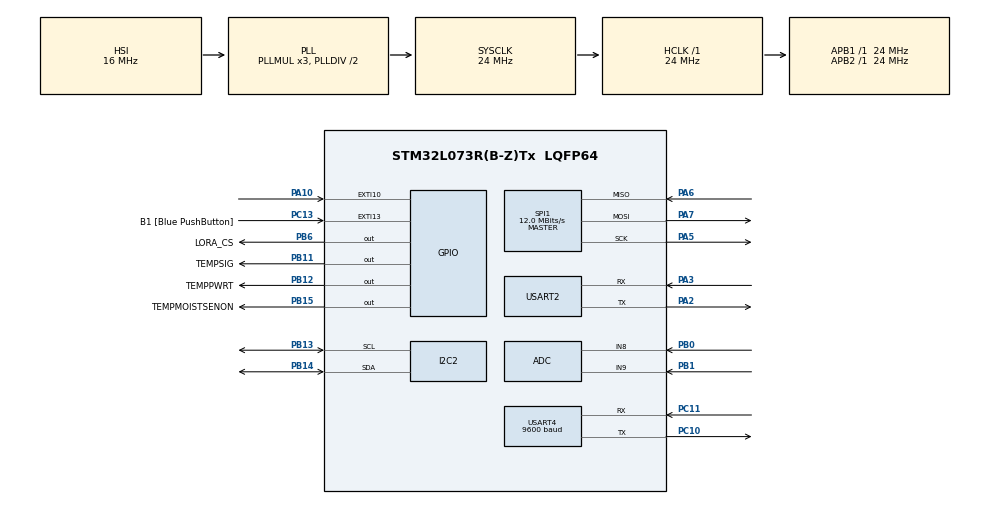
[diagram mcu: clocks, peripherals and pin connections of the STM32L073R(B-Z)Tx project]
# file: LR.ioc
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ADC.ContinuousConvMode=ENABLE
ADC.DMAContinuousRequests=ENABLE
ADC.ExternalTrigConv=ADC_EXTERNALTRIGCONV_T6_TRGO
ADC.SamplingTime=ADC_SAMPLETIME_12CYCLES_5
Dma.ADC.0.Direction=DMA_PERIPH_TO_MEMORY
Dma.ADC.0.Instance=DMA1_Channel1
Dma.ADC.0.MemDataAlignment=DMA_MDATAALIGN_HALFWORD
Dma.ADC.0.MemInc=DMA_MINC_ENABLE
Dma.ADC.0.Mode=DMA_CIRCULAR
Dma.ADC.0.PeriphDataAlignment=DMA_PDATAALIGN_HALFWORD
Dma.ADC.0.PeriphInc=DMA_PINC_DISABLE
Dma.ADC.0.Priority=DMA_PRIORITY_LOW
Dma.Request0=ADC
Dma.Request1=USART2_TX
Dma.Request2=USART4_RX
Dma.USART2_TX.1.Direction=DMA_MEMORY_TO_PERIPH
Dma.USART2_TX.1.Instance=DMA1_Channel4
Dma.USART2_TX.1.MemDataAlignment=DMA_MDATAALIGN_BYTE
Dma.USART2_TX.1.MemInc=DMA_MINC_ENABLE
Dma.USART2_TX.1.Mode=DMA_NORMAL
Dma.USART2_TX.1.PeriphDataAlignment=DMA_PDATAALIGN_BYTE
Dma.USART2_TX.1.PeriphInc=DMA_PINC_DISABLE
Dma.USART2_TX.1.Priority=DMA_PRIORITY_LOW
Dma.USART4_RX.2.Direction=DMA_PERIPH_TO_MEMORY
Dma.USART4_RX.2.Instance=DMA1_Channel2
Dma.USART4_RX.2.MemDataAlignment=DMA_MDATAALIGN_BYTE
Dma.USART4_RX.2.MemInc=DMA_MINC_ENABLE
Dma.USART4_RX.2.Mode=DMA_CIRCULAR
Dma.USART4_RX.2.PeriphDataAlignment=DMA_PDATAALIGN_BYTE
Dma.USART4_RX.2.PeriphInc=DMA_PINC_DISABLE
Dma.USART4_RX.2.Priority=DMA_PRIORITY_LOW
I2C2.Timing=0x00506682
Mcu.Family=STM32L0
Mcu.Name=STM32L073R(B-Z)Tx
Mcu.Package=LQFP64
NVIC.DMA1_Channel2_3_IRQn=true\:0\:0\:false\:false\:true\:true\:true\:true
NVIC.DMA1_Channel4_5_6_7_IRQn=true\:0\:0\:false\:false\:true\:true\:true\:true
NVIC.EXTI4_15_IRQn=true\:0\:0\:false\:false\:true\:true\:true\:true
NVIC.USART2_IRQn=true\:0\:0\:false\:false\:true\:true\:true\:true
PA10.Signal=GPXTI10
PA13.GPIO_Label=TMS
PA13.Mode=Serial_Wire
PA13.Signal=SYS_SWDIO
PA14.GPIO_Label=TCK
PA14.Mode=Serial_Wire
PA14.Signal=SYS_SWCLK
PA2.Mode=Asynchronous
PA2.Signal=USART2_TX
PA3.Mode=Asynchronous
PA3.Signal=USART2_RX
PA5.Mode=Full_Duplex_Master
PA5.Signal=SPI1_SCK
PA6.Mode=Full_Duplex_Master
PA6.Signal=SPI1_MISO
PA7.Mode=Full_Duplex_Master
PA7.Signal=SPI1_MOSI
PB0.Mode=IN8
PB0.Signal=ADC_IN8
PB1.Mode=IN9
PB1.Signal=ADC_IN9
PB11.GPIO_Label=TEMPSIG
PB11.GPIO_ModeDefaultOutputPP=GPIO_MODE_OUTPUT_OD
PB11.GPIO_PuPd=GPIO_PULLUP
PB11.Signal=GPIO_Output
PB12.GPIO_Label=TEMPPWRT
PB12.Signal=GPIO_Output
PB13.Mode=I2C
PB13.Signal=I2C2_SCL
PB14.Mode=I2C
PB14.Signal=I2C2_SDA
PB15.GPIO_Label=TEMPMOISTSENON
PB15.Signal=GPIO_Output
PB6.GPIO_Label=LORA_CS
PB6.PinState=GPIO_PIN_SET
PB6.Signal=GPIO_Output
PC10.Mode=Asynchronous
PC10.Signal=USART4_TX
PC11.Mode=Asynchronous
PC11.Signal=USART4_RX
PC13.GPIO_Label=B1 [Blue PushButton]
PC13.GPIO_ModeDefaultEXTI=GPIO_MODE_IT_FALLING
PC13.Signal=GPXTI13
PC14-OSC32_IN.Mode=LSE-External-Oscillator
PC14-OSC32_IN.Signal=RCC_OSC32_IN
PC15-OSC32_OUT.Mode=LSE-External-Oscillator
PC15-OSC32_OUT.Signal=RCC_OSC32_OUT
PH0-OSC_IN.GPIO_Label=MCO
PH0-OSC_IN.Mode=HSE-External-Clock-Source
PH0-OSC_IN.Signal=RCC_OSC_IN
ProjectManager.HeapSize=0x200
ProjectManager.StackSize=0x400
ProjectManager.TargetToolchain=STM32CubeIDE
RCC.AHBFreq_Value=24000000
RCC.APB1Freq_Value=24000000
RCC.APB1TimFreq_Value=24000000
RCC.APB2Freq_Value=24000000
RCC.APB2TimFreq_Value=24000000
RCC.HCLKFreq_Value=24000000
RCC.HSE_VALUE=8000000
RCC.HSI16_VALUE=16000000
RCC.HSI48_VALUE=48000000
RCC.HSI_VALUE=16000000
RCC.MSI_VALUE=2097000
RCC.SYSCLKFreq_VALUE=24000000
RCC.SYSCLKSource=RCC_SYSCLKSOURCE_PLLCLK
RCC.VCOOutputFreq_Value=48000000
SPI1.CalculateBaudRate=12.0 MBits/s
SPI1.Direction=SPI_DIRECTION_2LINES
SPI1.Mode=SPI_MODE_MASTER
SPI1.VirtualType=VM_MASTER
TIM21.Prescaler=24-1
TIM6.Period=24000
TIM6.Prescaler=0
TIM6.TIM_MasterOutputTrigger=TIM_TRGO_UPDATE
USART2.VirtualMode-Asynchronous=VM_ASYNC
USART4.BaudRate=9600
USART4.VirtualMode-Asynchronous=VM_ASYNC
VP_TIM21_VS_ClockSourceINT.Mode=Internal
VP_TIM6_VS_ClockSourceINT.Mode=Enable_Timer
board=NUCLEO-L073RZ

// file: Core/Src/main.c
/* USER CODE BEGIN Header */
/**
  ******************************************************************************
  * @file           : main.c
  * @brief          : Main program body
  ******************************************************************************
  * @attention
  *
  * Copyright (c) 2024 STMicroelectronics.
  * All rights reserved.
  *
  * This software is licensed under terms that can be found in the LICENSE file
  * in the root directory of this software component.
  * If no LICENSE file comes with this software, it is provided AS-IS.
  *
  ******************************************************************************
  */
/* USER CODE END Header */
#include "main.h"

/* USER CODE BEGIN Includes */
#include <math.h>
#include <stdlib.h>
#include <stdio.h>

/* USER CODE END Includes */

/* USER CODE BEGIN PD */
#define SERVER 0
uint8_t data_rx [512] = {0};
uint8_t data_tx [512] = {0};
uint8_t last_data_received = 0;
uint16_t last_data_num;

/* USER CODE END PD */

 ADC_HandleTypeDef hadc;
DMA_HandleTypeDef hdma_adc;

I2C_HandleTypeDef hi2c2;

SPI_HandleTypeDef hspi1;

TIM_HandleTypeDef htim6;
TIM_HandleTypeDef htim21;

UART_HandleTypeDef huart2;
UART_HandleTypeDef huart4;
DMA_HandleTypeDef hdma_usart2_tx;
DMA_HandleTypeDef hdma_usart4_rx;

void SystemClock_Config(void);
static void MX_GPIO_Init(void);
static void MX_USART2_UART_Init(void);
static void MX_DMA_Init(void);
static void MX_USART4_UART_Init(void);
static void MX_ADC_Init(void);
static void MX_SPI1_Init(void);
static void MX_TIM6_Init(void);
static void MX_TIM21_Init(void);
static void MX_I2C2_Init(void);

/* USER CODE BEGIN 0 */
float last_valid_latt = 0;
float last_valid_long = 0;
float last_valid_time = 0;
char last_valid_ns = 0;
char last_valid_we = 0;

uint16_t last_transmission_ID = 0;
uint8_t last_transmission_Checksum = 0;
uint8_t last_transmission_BitwiseParity = 0;
uint8_t last_transmission_confirmed = 0;

#define RXBUFLEN  4096
#define ADCDATALEN 2
char rx_data [RXBUFLEN] = {0};
uint16_t last_rx = 0;
#define RXLINBUFLEN 128
char rx_lin_buf [RXLINBUFLEN+1]= {0};

char tempbuffer [] = "$GNGLL,5005.2816,N,01427.1765,E,102908.000,A,D*48\r\n";

#define TXBUFLEN 110
char txbuf [TXBUFLEN] = {0};

uint16_t adcdata [ADCDATALEN] = {0};

enum msg_types {msg_unknown, msg_gnss_pos, msg_gnss_sat, msg_gps_pos, msg_gps_sat};

char* str_msg_gnss_pos = "$GNGLL";
char* str_msg_gps__pos = "$GPGLL";

//functions

uint8_t random_bit(){
	return adcdata[1]&1;
}

uint16_t random_uin16_t(){
	uint16_t random_code = 0;
	for(int i=0; i<16; ++i){
		random_code = random_code<<1;
		random_code = random_code|random_bit();
		HAL_Delay(5);
	}
	return random_code;
}

uint8_t strings_match_six(char *a, char* b){
	for(int i=0; i<6; ++i){
		if(a[i]!= b[i]){
			return 0;
		}
	}
	return 1;
}

uint8_t get_msg_type(){
	uint8_t msg_type = msg_unknown;
	if(rx_lin_buf[0]=='$'){
		if(strings_match_six(rx_lin_buf, str_msg_gnss_pos)){
			msg_type = msg_gnss_pos;
		}
		if(strings_match_six(rx_lin_buf, str_msg_gps__pos)){
			msg_type = msg_gps_pos;
		}

	}
	return msg_type;
}

int transfer_to_lin_buf(){
	//transfers one gps message into linear buffer
	int i=0;
	int end_found = 0;
	for(i=0; i<RXLINBUFLEN;++i){
		int idx = (last_rx+i)%RXBUFLEN;
		if(rx_data[idx] == '*'){
			if(rx_data[(idx+1)%RXBUFLEN]!=0){
				if(rx_data[(idx+2)%RXBUFLEN]!=0){
					end_found = 1;
				}
			}
			break;
		}
	}
	if(end_found==1){
		for(int j=0; j<=i+4; ++j){
			int idx = (last_rx+j)%RXBUFLEN;
			rx_lin_buf[j] = rx_data[idx];
			rx_data[idx] = 0;
		}
		for(int j=i+4+1; j<RXLINBUFLEN; ++j){
			rx_lin_buf[j] = 0;
		}
		last_rx = (last_rx+i+5)%RXBUFLEN;
	}
	return end_found;
}

uint8_t decode_gps(float *lat, float *lon, float* time, char *ns, char *we){
	//returns 1 if data is valid
	char valid = 0;

	char *endptr;
	char* parsedtext = &rx_lin_buf[7];
	*lat = strtof(parsedtext, &endptr);
	if(endptr[1]!=','){
		*ns = endptr[1];
		endptr= endptr+3;
	}else{
		endptr = endptr+2;
	}
	parsedtext = endptr;
	*lon = strtof(parsedtext, &endptr);
	if(endptr[1]!=','){
		*we = endptr[1];
		endptr= endptr+3;
	}else{
		endptr = endptr+2;
	}

	parsedtext = endptr;
	*time = strtof(parsedtext, &endptr);
	if(endptr[1]!=','){
		valid = endptr[1];
		endptr= endptr+3;
	}else{
		endptr = endptr+2;
	}

	//convert the values to degrees
	*lat = *lat/100;
	*lat = (floor(*lat)+(*lat-floor(*lat))/60.0*100.0);
	*lon = *lon/100;
	*lon = (floor(*lon)+(*lon-floor(*lon))/60.0*100.0);
	return(valid == 'A');
}

void handle_gps(){
	while(transfer_to_lin_buf()){
		uint8_t msg_type=  get_msg_type();
		if(msg_type == msg_gnss_pos || msg_type== msg_gps_pos){
			float temp_lat = 0;
			float temp_time = 0;
			float temp_long = 0;
			char temp_ns =0;
			char temp_we =0;
			if(decode_gps(&temp_lat, &temp_long, &temp_time, &temp_ns, &temp_we)){
				last_valid_latt = temp_lat;
				last_valid_long = temp_long;
				last_valid_time = temp_time;
				last_valid_ns = temp_ns;
				last_valid_we = temp_we;
			}
		}
	}

}

void delay_us (uint32_t us)
{
    __HAL_TIM_SET_COUNTER(&htim21,0);
    while ((__HAL_TIM_GET_COUNTER(&htim21))<us);
}

uint8_t DS18B20_Start (void)
{
	uint8_t Response = 0;
	GPIOB->BRR |= TEMPSIG_Pin; //reset pin
	delay_us (480);   // delay according to datasheet
	GPIOB->BSRR |= TEMPSIG_Pin; //reset pin
	delay_us (80);    // delay according to datasheet

	if (!(HAL_GPIO_ReadPin (TEMPSIG_GPIO_Port, TEMPSIG_Pin))) Response = 1;    // if the pin is low i.e the presence pulse is detected
	else Response = 0;

	delay_us (400); // 480 us delay totally.

	return Response;
}

void DS18B20_Write (uint8_t data)
{

	for (int i=0; i<8; i++)
	{

		if ((data & (1<<i))!=0)  // if the bit is high
		{
			// write 1
			GPIOB->BRR |= TEMPSIG_Pin; //reset pin
			delay_us (1);  // wait for 1 us

			GPIOB->BSRR |= TEMPSIG_Pin; //reset pin
			delay_us (70);  // wait for 60 us
		}

		else  // if the bit is low
		{
			// write 0
			GPIOB->BRR |= TEMPSIG_Pin; //reset pin
			delay_us (70);  // wait for 60 us

			GPIOB->BSRR |= TEMPSIG_Pin; //reset pin
			delay_us (1);  // wait for 1 us
		}
	}

}

uint8_t DS18B20_Read (void)
{
	uint8_t value=0;
	HAL_GPIO_WritePin(TEMPSIG_GPIO_Port, TEMPSIG_Pin, GPIO_PIN_SET);

	for (int i=0;i<8;i++)
	{
		GPIOB->BRR |= TEMPSIG_Pin; //reset pin
		//HAL_GPIO_WritePin(TEMPSIG_GPIO_Port, TEMPSIG_Pin, GPIO_PIN_RESET);
		delay_us (1);  // wait for 3 us
		GPIOB->BSRR |= TEMPSIG_Pin; //reset pin
		delay_us (1);
		//HAL_GPIO_WritePin(TEMPSIG_GPIO_Port, TEMPSIG_Pin, GPIO_PIN_SET);
		if (HAL_GPIO_ReadPin (TEMPSIG_GPIO_Port, TEMPSIG_Pin))  // if the pin is HIGH
		{
			value |= 1<<i;  // read = 1
		}
		delay_us (70);  // wait for 60 us
	}
	return value;
}

float get_DS18B20_temp(void){

	float floattemp = 0;

	__disable_irq();  // disable all interrupts
		if(DS18B20_Start ()){ //sensor detected
		__enable_irq();   // enable all interrupts
		HAL_Delay (1);
		__disable_irq();  // disable all interrupts
		DS18B20_Write (0xCC);  // skip ROM
		DS18B20_Write (0x44);  // convert t
		__enable_irq();   // enable all interrupts
		HAL_Delay (800);
		__disable_irq();  // disable all interrupts
		if(DS18B20_Start ()){
			__enable_irq();   // enable all interrupts
					HAL_Delay (1);
					__disable_irq();  // disable all interrupts
			DS18B20_Write (0xCC);  // skip ROM
			DS18B20_Write (0xBE);  // Read Scratch-pad
			uint8_t Temp_byte1 = DS18B20_Read();
			uint8_t Temp_byte2 = DS18B20_Read();
			__enable_irq();   // enable all interrupts
			int16_t temp = Temp_byte1 | Temp_byte2<<8;
			floattemp = temp/8.0;
			floattemp = floattemp*0.5;
			asm("NOP");
		}

	}
		__enable_irq();   // enable all interrupts

	return floattemp;
}

void write_reg(uint8_t reg, uint8_t data){

	__disable_irq();
	HAL_GPIO_WritePin(LORA_CS_GPIO_Port, LORA_CS_Pin, GPIO_PIN_RESET);
	reg = reg|0x80;
	HAL_SPI_Transmit(&hspi1, &reg, 1, 1000);
	HAL_SPI_Transmit(&hspi1, &data, 1, 1000);
	HAL_GPIO_WritePin(LORA_CS_GPIO_Port, LORA_CS_Pin, GPIO_PIN_SET);
	__enable_irq();
}

uint8_t read_reg(uint8_t reg){
	__disable_irq();
	uint8_t data =0;
	HAL_GPIO_WritePin(LORA_CS_GPIO_Port, LORA_CS_Pin, GPIO_PIN_RESET);
	HAL_SPI_Transmit(&hspi1, &reg, 1, 1000);
	HAL_SPI_Receive(&hspi1, &data, 1, 1000);
	HAL_GPIO_WritePin(LORA_CS_GPIO_Port, LORA_CS_Pin, GPIO_PIN_SET);
	__enable_irq();
	return data;
}

void SetOpMode( uint8_t opMode )
{
    write_reg( REG_OPMODE, (read_reg( REG_OPMODE ) & RF_OPMODE_MASK ) | opMode );
}

void SetRfTxPower( int8_t power ,uint32_t freq)
{
    uint8_t paConfig = 0;
    uint8_t paDac = 0;

    paConfig = read_reg( REG_PACONFIG );
    paDac = read_reg( REG_PADAC );

    paConfig = ( paConfig & RF_PACONFIG_PASELECT_MASK ) | RF_PACONFIG_PASELECT_RFO;

    if( ( paConfig & RF_PACONFIG_PASELECT_PABOOST ) == RF_PACONFIG_PASELECT_PABOOST )
    {
        if( power > 17 )
        {
            paDac = ( paDac & RF_PADAC_20DBM_MASK ) | RF_PADAC_20DBM_ON;
        }
        else
        {
            paDac = ( paDac & RF_PADAC_20DBM_MASK ) | RF_PADAC_20DBM_OFF;
        }
        if( ( paDac & RF_PADAC_20DBM_ON ) == RF_PADAC_20DBM_ON )
        {
            if( power < 5 )
            {
                power = 5;
            }
            if( power > 20 )
            {
                power = 20;
            }
            paConfig = ( paConfig & RFLR_PACONFIG_OUTPUTPOWER_MASK ) | ( uint8_t )( ( uint16_t )( power - 5 ) & 0x0F );
        }
        else
        {
            if( power < 2 )
            {
                power = 2;
            }
            if( power > 17 )
            {
                power = 17;
            }
            paConfig = ( paConfig & RFLR_PACONFIG_OUTPUTPOWER_MASK ) | ( uint8_t )( ( uint16_t )( power - 2 ) & 0x0F );
        }
    }
    else
    {
        if( power < -1 )
        {
            power = -1;
        }
        if( power > 14 )
        {
            power = 14;
        }
        paConfig = ( paConfig & RFLR_PACONFIG_OUTPUTPOWER_MASK ) | ( uint8_t )( ( uint16_t )( power + 1 ) & 0x0F );
    }
    write_reg( REG_PACONFIG, paConfig );
    write_reg( REG_PADAC, paDac );
}

void set_for_rx(uint32_t bandwidth,
        uint32_t datarate, uint8_t coderate,
        uint32_t bandwidthAfc, uint16_t preambleLen,
        uint16_t symbTimeout, uint8_t fixLen,
        uint8_t payloadLen,
		uint8_t crcOn, uint8_t freqHopOn, uint8_t hopPeriod,
		uint8_t iqInverted, uint8_t rxContinuous ){

    	SetOpMode( RF_OPMODE_SLEEP );
	    write_reg( REG_OPMODE, (read_reg( REG_OPMODE ) & RFLR_OPMODE_LONGRANGEMODE_MASK ) | RFLR_OPMODE_LONGRANGEMODE_ON );

	    write_reg( REG_DIOMAPPING1, 0x00 );
	    write_reg( REG_DIOMAPPING2, 0x00 );
		write_reg(REG_LR_FIFORXBASEADDR, 0x00); //half of fifo for rx

	uint8_t LowDatarateOptimize=0;
    if( datarate > 12 )
    {
        datarate = 12;
    }
    else if( datarate < 6 )
    {
        datarate = 6;
    }

    if( ( ( bandwidth == 0 ) && ( ( datarate == 11 ) || ( datarate == 12 ) ) ) ||
        ( ( bandwidth == 1 ) && ( datarate == 12 ) ) )
    {
    	LowDatarateOptimize = 0x01;
    }
    else
    {
    	LowDatarateOptimize = 0x00;
    }

    write_reg( REG_LR_MODEMCONFIG1,
                 ( read_reg( REG_LR_MODEMCONFIG1 ) &
                   RFLR_MODEMCONFIG1_BW_MASK &
                   RFLR_MODEMCONFIG1_CODINGRATE_MASK &
                   RFLR_MODEMCONFIG1_IMPLICITHEADER_MASK &
                   RFLR_MODEMCONFIG1_RXPAYLOADCRC_MASK &
                   RFLR_MODEMCONFIG1_LOWDATARATEOPTIMIZE_MASK ) |
                   ( bandwidth << 6 ) | ( coderate << 3 ) |
                   ( fixLen << 2 ) | ( crcOn << 1 ) |
				   LowDatarateOptimize );

    write_reg( REG_LR_MODEMCONFIG2,
                 ( read_reg( REG_LR_MODEMCONFIG2 ) &
                   RFLR_MODEMCONFIG2_SF_MASK &
                   RFLR_MODEMCONFIG2_SYMBTIMEOUTMSB_MASK ) |
                   ( datarate << 4 ) |
                   ( ( symbTimeout >> 8 ) & ~RFLR_MODEMCONFIG2_SYMBTIMEOUTMSB_MASK ) );

    write_reg( REG_LR_SYMBTIMEOUTLSB, ( uint8_t )( symbTimeout & 0xFF ) );

    write_reg( REG_LR_PREAMBLEMSB, ( uint8_t )( ( preambleLen >> 8 ) & 0xFF ) );
    write_reg( REG_LR_PREAMBLELSB, ( uint8_t )( preambleLen & 0xFF ) );

    if( fixLen == 1 )
    {
        write_reg( REG_LR_PAYLOADLENGTH, payloadLen );
    }

    if(freqHopOn)
    {
        write_reg( REG_LR_PLLHOP, ( read_reg( REG_LR_PLLHOP ) & RFLR_PLLHOP_FASTHOP_MASK ) | RFLR_PLLHOP_FASTHOP_ON );
        write_reg( REG_LR_HOPPERIOD, hopPeriod );
    }

    if( datarate == 6 )
    {
        write_reg( REG_LR_DETECTOPTIMIZE,
                     ( read_reg( REG_LR_DETECTOPTIMIZE ) &
                       RFLR_DETECTIONOPTIMIZE_MASK ) |
                       RFLR_DETECTIONOPTIMIZE_SF6 );
        write_reg( REG_LR_DETECTIONTHRESHOLD,
                     RFLR_DETECTIONTHRESH_SF6 );
    }
    else
    {
        write_reg( REG_LR_DETECTOPTIMIZE,
                     ( read_reg( REG_LR_DETECTOPTIMIZE ) &
                     RFLR_DETECTIONOPTIMIZE_MASK ) |
                     RFLR_DETECTIONOPTIMIZE_SF7_TO_SF12 );
        write_reg( REG_LR_DETECTIONTHRESHOLD,
                     RFLR_DETECTIONTHRESH_SF7_TO_SF12 );
    }
}

void set_for_tx(int8_t power, uint32_t fdev,
                        uint32_t bandwidth, uint32_t datarate,
                        uint8_t coderate, uint16_t preambleLen,
						uint8_t fixLen, uint8_t crcOn, uint8_t freqHopOn,
                        uint8_t hopPeriod, uint8_t iqInverted, uint32_t timeout )
{
	SetOpMode( RF_OPMODE_SLEEP );
	write_reg( REG_OPMODE, (read_reg( REG_OPMODE ) & RFLR_OPMODE_LONGRANGEMODE_MASK ) | RFLR_OPMODE_LONGRANGEMODE_ON );

	write_reg( REG_DIOMAPPING1, 0x00 );
	write_reg( REG_DIOMAPPING2, 0x00 );
	write_reg(REG_LR_FIFOTXBASEADDR, 0x80); //half of fifo for tx

	uint8_t LowDatarateOptimize=0;
	if( datarate > 12 )
	{
	    datarate = 12;
		}
	else if( datarate < 6 )
	{
	    datarate = 6;
	}
	if( ( ( bandwidth == 0 ) && ( ( datarate == 11 ) || ( datarate == 12 ) ) ) ||
	( ( bandwidth == 1 ) && ( datarate == 12 ) ) )
	{
		LowDatarateOptimize = 0x01;
	}
	else
	{
		LowDatarateOptimize = 0x00;
	}

	if(freqHopOn)
	{
		write_reg( REG_LR_PLLHOP, ( read_reg( REG_LR_PLLHOP ) & RFLR_PLLHOP_FASTHOP_MASK ) | RFLR_PLLHOP_FASTHOP_ON );
	    write_reg( REG_LR_HOPPERIOD,hopPeriod );
	}

	write_reg( REG_LR_MODEMCONFIG1,
	                         ( read_reg( REG_LR_MODEMCONFIG1 ) &
	                           RFLR_MODEMCONFIG1_BW_MASK &
	                           RFLR_MODEMCONFIG1_CODINGRATE_MASK &
	                           RFLR_MODEMCONFIG1_IMPLICITHEADER_MASK &
	                           RFLR_MODEMCONFIG1_RXPAYLOADCRC_MASK &
	                           RFLR_MODEMCONFIG1_LOWDATARATEOPTIMIZE_MASK ) |
	                           ( bandwidth << 6 ) | ( coderate << 3 ) |
	                           ( fixLen << 2 ) | ( crcOn << 1 ) |
							   LowDatarateOptimize);

	write_reg( REG_LR_MODEMCONFIG2,
	                        ( read_reg( REG_LR_MODEMCONFIG2 ) &
	                          RFLR_MODEMCONFIG2_SF_MASK ) |
	                          ( datarate << 4 ) );

	write_reg( REG_LR_PREAMBLEMSB, ( preambleLen >> 8 ) & 0x00FF );
	write_reg( REG_LR_PREAMBLELSB, preambleLen & 0xFF );

	if( datarate == 6 )
	{
		write_reg( REG_LR_DETECTOPTIMIZE,
				( read_reg( REG_LR_DETECTOPTIMIZE ) &
						RFLR_DETECTIONOPTIMIZE_MASK ) |
						RFLR_DETECTIONOPTIMIZE_SF6 );
	            write_reg( REG_LR_DETECTIONTHRESHOLD,
	                    RFLR_DETECTIONTHRESH_SF6 );
	}
	else
	{
		write_reg( REG_LR_DETECTOPTIMIZE,
				( read_reg( REG_LR_DETECTOPTIMIZE ) &
						RFLR_DETECTIONOPTIMIZE_MASK ) |
	                    RFLR_DETECTIONOPTIMIZE_SF7_TO_SF12 );
		write_reg( REG_LR_DETECTIONTHRESHOLD,
				RFLR_DETECTIONTHRESH_SF7_TO_SF12 );
	}

}

void set_channel(uint32_t freq){
	freq = ( uint32_t )( ( double )freq / ( double )FREQ_STEP );
	    write_reg( REG_FRFMSB, ( uint8_t )( ( freq >> 16 ) & 0xFF ) );
	    write_reg( REG_FRFMID, ( uint8_t )( ( freq >> 8 ) &  0xFF ) );
	    write_reg( REG_FRFLSB, ( uint8_t )( freq & 0xFF ) );
}

void Write( uint8_t addr, uint8_t *buffer, uint8_t size )
{
	addr = addr | 0x80;
	__disable_irq();
	HAL_GPIO_WritePin(LORA_CS_GPIO_Port, LORA_CS_Pin, GPIO_PIN_RESET);
    HAL_SPI_Transmit(&hspi1, &addr, 1, 1000);
    HAL_SPI_Transmit(&hspi1, buffer, size, 1000);
    HAL_GPIO_WritePin(LORA_CS_GPIO_Port, LORA_CS_Pin, GPIO_PIN_SET);
    __enable_irq();

}

void WriteFifo( uint8_t *buffer, uint8_t size )
{
    Write( 0, buffer, size );
}

void lora_tx(uint8_t freqHopOn)
{

            if(freqHopOn)
            {
                write_reg( REG_LR_IRQFLAGSMASK, RFLR_IRQFLAGS_RXTIMEOUT |
                                                  RFLR_IRQFLAGS_RXDONE |
                                                  RFLR_IRQFLAGS_PAYLOADCRCERROR |
                                                  RFLR_IRQFLAGS_VALIDHEADER |
                                                  //RFLR_IRQFLAGS_TXDONE |
                                                  RFLR_IRQFLAGS_CADDONE |
                                                  //RFLR_IRQFLAGS_FHSSCHANGEDCHANNEL |
                                                  RFLR_IRQFLAGS_CADDETECTED );

                // DIO0=TxDone, DIO2=FhssChangeChannel
                write_reg( REG_DIOMAPPING1, (read_reg( REG_DIOMAPPING1 ) & RFLR_DIOMAPPING1_DIO0_MASK & RFLR_DIOMAPPING1_DIO2_MASK ) | RFLR_DIOMAPPING1_DIO0_01 | RFLR_DIOMAPPING1_DIO2_00 );
            }
            else
            {
                write_reg( REG_LR_IRQFLAGSMASK, RFLR_IRQFLAGS_RXTIMEOUT |
                                                  RFLR_IRQFLAGS_RXDONE |
                                                  RFLR_IRQFLAGS_PAYLOADCRCERROR |
                                                  RFLR_IRQFLAGS_VALIDHEADER |
                                                  //RFLR_IRQFLAGS_TXDONE |
                                                  RFLR_IRQFLAGS_CADDONE |
                                                  RFLR_IRQFLAGS_FHSSCHANGEDCHANNEL |
                                                  RFLR_IRQFLAGS_CADDETECTED );

                // DIO0=TxDone
                write_reg( REG_DIOMAPPING1, (read_reg( REG_DIOMAPPING1 ) & RFLR_DIOMAPPING1_DIO0_MASK ) | RFLR_DIOMAPPING1_DIO0_01 );
            }

	SetOpMode( RF_OPMODE_TRANSMITTER );
}

void lora_send(uint8_t *buffer, uint8_t size , uint8_t freqHopOn, uint8_t IqInverted)
{
                if(IqInverted)
            {
                write_reg( REG_LR_INVERTIQ, ( (read_reg( REG_LR_INVERTIQ ) & RFLR_INVERTIQ_TX_MASK & RFLR_INVERTIQ_RX_MASK ) | RFLR_INVERTIQ_RX_OFF | RFLR_INVERTIQ_TX_ON ) );
                write_reg( REG_LR_INVERTIQ2, RFLR_INVERTIQ2_ON );
            }
            else
            {
                write_reg( REG_LR_INVERTIQ, ( (read_reg( REG_LR_INVERTIQ ) & RFLR_INVERTIQ_TX_MASK & RFLR_INVERTIQ_RX_MASK ) | RFLR_INVERTIQ_RX_OFF | RFLR_INVERTIQ_TX_OFF ) );
                write_reg( REG_LR_INVERTIQ2, RFLR_INVERTIQ2_OFF );
            }

            // Initializes the payload size
            write_reg( REG_LR_PAYLOADLENGTH, size );

            // Full buffer used for Tx
            write_reg( REG_LR_FIFOTXBASEADDR, 0 );
            write_reg( REG_LR_FIFOADDRPTR, 0 );

            // FIFO operations can not take place in Sleep mode
            if( (read_reg( REG_OPMODE ) & ~RF_OPMODE_MASK ) == RF_OPMODE_SLEEP )
            {
                SetOpMode(RF_OPMODE_STANDBY);
                HAL_Delay(5);
            }
            // Write payload buffer
            WriteFifo( buffer, size );

            lora_tx( freqHopOn);
}

void lora_rx( uint32_t timeout, uint8_t IqInverted, uint8_t RxContinuous,  uint8_t freqHopOn)
{
    if(IqInverted)
	{
		write_reg( REG_LR_INVERTIQ, ( (read_reg( REG_LR_INVERTIQ ) & RFLR_INVERTIQ_TX_MASK & RFLR_INVERTIQ_RX_MASK ) | RFLR_INVERTIQ_RX_ON | RFLR_INVERTIQ_TX_OFF ) );
		write_reg( REG_LR_INVERTIQ2, RFLR_INVERTIQ2_ON );
	}
	else
	{
		write_reg( REG_LR_INVERTIQ, ( (read_reg( REG_LR_INVERTIQ ) & RFLR_INVERTIQ_TX_MASK & RFLR_INVERTIQ_RX_MASK ) | RFLR_INVERTIQ_RX_OFF | RFLR_INVERTIQ_TX_OFF ) );
		write_reg( REG_LR_INVERTIQ2, RFLR_INVERTIQ2_OFF );
	}

	if(freqHopOn)
	{
		write_reg( REG_LR_IRQFLAGSMASK, //RFLR_IRQFLAGS_RXTIMEOUT |
				//RFLR_IRQFLAGS_RXDONE |
				//RFLR_IRQFLAGS_PAYLOADCRCERROR |
				RFLR_IRQFLAGS_VALIDHEADER |
				RFLR_IRQFLAGS_TXDONE |
				RFLR_IRQFLAGS_CADDONE |
				//RFLR_IRQFLAGS_FHSSCHANGEDCHANNEL |
				RFLR_IRQFLAGS_CADDETECTED );

		// DIO0=RxDone, DIO2=FhssChangeChannel
		write_reg( REG_DIOMAPPING1, (read_reg( REG_DIOMAPPING1 ) & RFLR_DIOMAPPING1_DIO0_MASK & RFLR_DIOMAPPING1_DIO2_MASK  ) | RFLR_DIOMAPPING1_DIO0_00 | RFLR_DIOMAPPING1_DIO2_00 );
	}
	else
	{
		write_reg( REG_LR_IRQFLAGSMASK, //RFLR_IRQFLAGS_RXTIMEOUT |
				//RFLR_IRQFLAGS_RXDONE |
				//RFLR_IRQFLAGS_PAYLOADCRCERROR |
				RFLR_IRQFLAGS_VALIDHEADER |
				RFLR_IRQFLAGS_TXDONE |
				RFLR_IRQFLAGS_CADDONE |
				RFLR_IRQFLAGS_FHSSCHANGEDCHANNEL |
				RFLR_IRQFLAGS_CADDETECTED );

		// DIO0=RxDone
		write_reg( REG_DIOMAPPING1, (read_reg( REG_DIOMAPPING1 ) & RFLR_DIOMAPPING1_DIO0_MASK ) | RFLR_DIOMAPPING1_DIO0_00 );
	}
	write_reg( REG_LR_FIFORXBASEADDR, 0 );
	write_reg( REG_LR_FIFOADDRPTR, 0 );

        if( RxContinuous)
        {
            for(int i=0; i<0x3e; ++i){
            			  asm("NOP");
            			  uint8_t val = read_reg(i);
            			  asm("NOP");
            			  asm("NOP");
            		  }

            SetOpMode( RFLR_OPMODE_RECEIVER );
        }
        else
        {
            SetOpMode( RFLR_OPMODE_RECEIVER_SINGLE );
        }
}

void check_ack(){
	uint8_t byte_offset = 4;
	uint16_t received_ID =( data_rx[byte_offset]) | (data_rx[byte_offset+1]<<8);
	uint8_t received_Checksum = data_rx[byte_offset+5];
	uint8_t received_BitwiseParity = data_rx[byte_offset+6];
	if(received_ID != last_transmission_ID){
		return;
	}
	if(received_Checksum != last_transmission_Checksum){
		return;
	}
	if(received_BitwiseParity != last_transmission_BitwiseParity){
		return;
	}
	if((data_rx[byte_offset+2] != 'A') ||(data_rx[byte_offset+3] != 'C')||(data_rx[byte_offset+4] != 'K')){
		return;
	}
	last_transmission_confirmed = 1;
}

void read_rx_data(){
	//check error flags
	HAL_GPIO_WritePin(LORA_CS_GPIO_Port, LORA_CS_Pin, GPIO_PIN_SET);
	uint8_t flags = read_reg(REG_LR_IRQFLAGS);
	uint8_t status = read_reg(1);
	if((flags&0x40)){//rx_done

		uint8_t nbytes = read_reg(REG_LR_RXNBBYTES);
		if(nbytes>0){
			write_reg(REG_LR_FIFOADDRPTR, read_reg(REG_LR_FIFORXCURRENTADDR));
			uint8_t address = REG_LR_FIFO;
			HAL_GPIO_WritePin(LORA_CS_GPIO_Port, LORA_CS_Pin, GPIO_PIN_RESET);
			HAL_SPI_Transmit(&hspi1, &address, 1, 1000);
			HAL_SPI_Receive(&hspi1, data_rx, nbytes, 1000);
			check_ack();
		}
		//write_reg(REG_LR_IRQFLAGS, 0x40);//reset rx_done interrupt
	}
	write_reg(REG_LR_IRQFLAGS, 0xff); //clear interrupts

}

void HAL_GPIO_EXTI_Callback(uint16_t GPIO_Pin){
	read_rx_data();
}

/* USER CODE END 0 */

int main(void)
{

  /* MCU Configuration--------------------------------------------------------*/

  /* Reset of all peripherals, Initializes the Flash interface and the Systick. */
  HAL_Init();

  /* Configure the system clock */
  SystemClock_Config();

  /* Initialize all configured peripherals */
  MX_GPIO_Init();
  MX_USART2_UART_Init();
  MX_DMA_Init();
  MX_USART4_UART_Init();
  MX_ADC_Init();
  MX_SPI1_Init();
  MX_TIM6_Init();
  MX_TIM21_Init();
  MX_I2C2_Init();
  /* USER CODE BEGIN 2 */

  HAL_UART_Receive_DMA(&huart4, rx_data, RXBUFLEN);
  HAL_ADCEx_Calibration_Start(&hadc, ADC_SINGLE_ENDED);
  HAL_GPIO_WritePin(TEMPMOISTSENON_GPIO_Port, TEMPMOISTSENON_Pin, GPIO_PIN_SET); //turn on moisture sensor
  HAL_GPIO_WritePin(TEMPPWRT_GPIO_Port, TEMPPWRT_Pin, GPIO_PIN_SET); //turn on temp sensor
  HAL_Delay(100);
  HAL_ADC_Start_DMA(&hadc, adcdata, ADCDATALEN);
  HAL_TIM_Base_Start(&htim6);
  HAL_TIM_Base_Start(&htim21);

  set_channel(RF_FREQUENCY);

  set_for_rx(LORA_BANDWIDTH, LORA_SPREADING_FACTOR,
                           LORA_CODINGRATE, 0, LORA_PREAMBLE_LENGTH,
                           LORA_SYMBOL_TIMEOUT, LORA_FIX_LENGTH_PAYLOAD_ON, 0,
                           LORA_CRC_ENABLED, LORA_FHSS_ENABLED, LORA_NB_SYMB_HOP,
                           LORA_IQ_INVERSION_ON, 1 );
  set_for_tx(TX_OUTPUT_POWER, 0, LORA_BANDWIDTH,
                       LORA_SPREADING_FACTOR, LORA_CODINGRATE,
                       LORA_PREAMBLE_LENGTH, LORA_FIX_LENGTH_PAYLOAD_ON,
                       LORA_CRC_ENABLED, LORA_FHSS_ENABLED, LORA_NB_SYMB_HOP,
                       LORA_IQ_INVERSION_ON, 2000 );

  /* USER CODE END 2 */

  /* Infinite loop */
  /* USER CODE BEGIN WHILE */

  uint8_t receive_buffer[32] = {0};
  uint8_t receive_buffer_ptr = 0;
  uint8_t last_receive_ptr = 0;
  while (1)
  	  {

	  	  //prepare data_to_send
	  	  float temp =  get_DS18B20_temp();
	  	  uint8_t i2c_data [10] = {0};
	  	  HAL_I2C_Mem_Read(&hi2c2, 0x44<<1, 0x2C06, 2, i2c_data, 6, 1000);
	  	  float moisttemp = -45+175*((i2c_data[0]<<8)|i2c_data[1])/((1<<16)-1.0);
	  	  float moistmois = 100*((i2c_data[3]<<8)|i2c_data[4])/((1<<16)-1.0);

	  	  int j = snprintf(txbuf, TXBUFLEN, "    Tw=%.1f;"
			  	  	  	  	  	  	  	  "Ta=%.1f;"
			  	  	  	  	  	  	  	  "Ma=%.1f;"
			  	  	  	  	  	  	  	  "Lo=%u;"
			  	  	  	  	  	  	  	  "G%c=%.6f;"
	  			  	  	  	  	  	  	  "G%c=%.6f  ",
			  	  	  	  	  	  	  	   temp, moisttemp, moistmois,
										  	  adcdata[0],
											  last_valid_ns,last_valid_latt,
											  last_valid_we,last_valid_long);

	  	  //quickly send data
	  	  uint16_t msg_len = j;
	  	  uint16_t random_ID = random_uin16_t();
	  	  last_transmission_ID = random_ID;

	  	  txbuf[0] = random_ID&0xff;
	  	  txbuf[1] = random_ID>>8;
	  	  txbuf[2] = msg_len>>8;
	  	  txbuf[3] = msg_len&0xff;
	  	  //calculate checksum
	  	  uint8_t sum = 0;
	  	  for(int i=0; i<msg_len-2; ++i){
	  		  sum = sum+txbuf[i];
	  	  }
	  	  txbuf[msg_len-2] = 256-sum;
	  	  last_transmission_Checksum = 256-sum;

	  	  //calculate bitwise parity
	  	  uint8_t parity =0;
	  	  for(int i=0; i<msg_len-1; ++i){
	  		parity = parity^txbuf[i];
	  	  }
	  	  txbuf[msg_len-1] = parity;
	  	  last_transmission_BitwiseParity=parity;
	  	  last_transmission_confirmed = 0;

	  	  //send until transmission confirmed, maximum 5 times
	  	  for(int transmissionNo = 0; transmissionNo<5; transmissionNo++){
	  		lora_send(txbuf, j, LORA_FHSS_ENABLED, LORA_IQ_INVERSION_ON);
	  		uint8_t status_val = read_reg(1);
	  		while((status_val &0xf) ==0x3){//while transmission in progess
	  		 	  status_val = read_reg(1);
	  		}
	  		//CLEAR TX COMPLETE INTERRUPT
	  		write_reg(REG_LR_IRQFLAGS, 0x8);
	  		lora_rx(1000, LORA_IQ_INVERSION_ON, 1, LORA_FHSS_ENABLED);
	  		HAL_Delay(200+100*transmissionNo);
	  		if(last_transmission_confirmed){
	  			break;
	  		}
	  	  }
	  	  HAL_Delay(10000);

		  SetOpMode(RF_OPMODE_STANDBY);

    /* USER CODE END WHILE */

  }
}

void SystemClock_Config(void)
{
  RCC_OscInitTypeDef RCC_OscInitStruct = {0};
  RCC_ClkInitTypeDef RCC_ClkInitStruct = {0};
  RCC_PeriphCLKInitTypeDef PeriphClkInit = {0};

  /** Configure the main internal regulator output voltage
  */
  __HAL_PWR_VOLTAGESCALING_CONFIG(PWR_REGULATOR_VOLTAGE_SCALE1);

  /** Initializes the RCC Oscillators according to the specified parameters
  * in the RCC_OscInitTypeDef structure.
  */
  RCC_OscInitStruct.OscillatorType = RCC_OSCILLATORTYPE_HSI;
  RCC_OscInitStruct.HSIState = RCC_HSI_ON;
  RCC_OscInitStruct.HSICalibrationValue = RCC_HSICALIBRATION_DEFAULT;
  RCC_OscInitStruct.PLL.PLLState = RCC_PLL_ON;
  RCC_OscInitStruct.PLL.PLLSource = RCC_PLLSOURCE_HSI;
  RCC_OscInitStruct.PLL.PLLMUL = RCC_PLLMUL_3;
  RCC_OscInitStruct.PLL.PLLDIV = RCC_PLLDIV_2;
  if (HAL_RCC_OscConfig(&RCC_OscInitStruct) != HAL_OK)
  {
    Error_Handler();
  }

  /** Initializes the CPU, AHB and APB buses clocks
  */
  RCC_ClkInitStruct.ClockType = RCC_CLOCKTYPE_HCLK|RCC_CLOCKTYPE_SYSCLK
                              |RCC_CLOCKTYPE_PCLK1|RCC_CLOCKTYPE_PCLK2;
  RCC_ClkInitStruct.SYSCLKSource = RCC_SYSCLKSOURCE_PLLCLK;
  RCC_ClkInitStruct.AHBCLKDivider = RCC_SYSCLK_DIV1;
  RCC_ClkInitStruct.APB1CLKDivider = RCC_HCLK_DIV1;
  RCC_ClkInitStruct.APB2CLKDivider = RCC_HCLK_DIV1;

  if (HAL_RCC_ClockConfig(&RCC_ClkInitStruct, FLASH_LATENCY_1) != HAL_OK)
  {
    Error_Handler();
  }
  PeriphClkInit.PeriphClockSelection = RCC_PERIPHCLK_USART2;
  PeriphClkInit.Usart2ClockSelection = RCC_USART2CLKSOURCE_PCLK1;
  if (HAL_RCCEx_PeriphCLKConfig(&PeriphClkInit) != HAL_OK)
  {
    Error_Handler();
  }
}

static void MX_ADC_Init(void)
{

  ADC_ChannelConfTypeDef sConfig = {0};

  /** Configure the global features of the ADC (Clock, Resolution, Data Alignment and number of conversion)
  */
  hadc.Instance = ADC1;
  hadc.Init.OversamplingMode = DISABLE;
  hadc.Init.ClockPrescaler = ADC_CLOCK_SYNC_PCLK_DIV2;
  hadc.Init.Resolution = ADC_RESOLUTION_12B;
  hadc.Init.SamplingTime = ADC_SAMPLETIME_12CYCLES_5;
  hadc.Init.ScanConvMode = ADC_SCAN_DIRECTION_FORWARD;
  hadc.Init.DataAlign = ADC_DATAALIGN_RIGHT;
  hadc.Init.ContinuousConvMode = ENABLE;
  hadc.Init.DiscontinuousConvMode = DISABLE;
  hadc.Init.ExternalTrigConvEdge = ADC_EXTERNALTRIGCONVEDGE_RISING;
  hadc.Init.ExternalTrigConv = ADC_EXTERNALTRIGCONV_T6_TRGO;
  hadc.Init.DMAContinuousRequests = ENABLE;
  hadc.Init.EOCSelection = ADC_EOC_SINGLE_CONV;
  hadc.Init.Overrun = ADC_OVR_DATA_PRESERVED;
  hadc.Init.LowPowerAutoWait = DISABLE;
  hadc.Init.LowPowerFrequencyMode = DISABLE;
  hadc.Init.LowPowerAutoPowerOff = DISABLE;
  if (HAL_ADC_Init(&hadc) != HAL_OK)
  {
    Error_Handler();
  }

  /** Configure for the selected ADC regular channel to be converted.
  */
  sConfig.Channel = ADC_CHANNEL_8;
  sConfig.Rank = ADC_RANK_CHANNEL_NUMBER;
  if (HAL_ADC_ConfigChannel(&hadc, &sConfig) != HAL_OK)
  {
    Error_Handler();
  }

  /** Configure for the selected ADC regular channel to be converted.
  */
  sConfig.Channel = ADC_CHANNEL_9;
  if (HAL_ADC_ConfigChannel(&hadc, &sConfig) != HAL_OK)
  {
    Error_Handler();
  }

}

static void MX_I2C2_Init(void)
{

  hi2c2.Instance = I2C2;
  hi2c2.Init.Timing = 0x00506682;
  hi2c2.Init.OwnAddress1 = 0;
  hi2c2.Init.AddressingMode = I2C_ADDRESSINGMODE_7BIT;
  hi2c2.Init.DualAddressMode = I2C_DUALADDRESS_DISABLE;
  hi2c2.Init.OwnAddress2 = 0;
  hi2c2.Init.OwnAddress2Masks = I2C_OA2_NOMASK;
  hi2c2.Init.GeneralCallMode = I2C_GENERALCALL_DISABLE;
  hi2c2.Init.NoStretchMode = I2C_NOSTRETCH_DISABLE;
  if (HAL_I2C_Init(&hi2c2) != HAL_OK)
  {
    Error_Handler();
  }

  /** Configure Analogue filter
  */
  if (HAL_I2CEx_ConfigAnalogFilter(&hi2c2, I2C_ANALOGFILTER_ENABLE) != HAL_OK)
  {
    Error_Handler();
  }

  /** Configure Digital filter
  */
  if (HAL_I2CEx_ConfigDigitalFilter(&hi2c2, 0) != HAL_OK)
  {
    Error_Handler();
  }

}

static void MX_SPI1_Init(void)
{

  /* SPI1 parameter configuration*/
  hspi1.Instance = SPI1;
  hspi1.Init.Mode = SPI_MODE_MASTER;
  hspi1.Init.Direction = SPI_DIRECTION_2LINES;
  hspi1.Init.DataSize = SPI_DATASIZE_8BIT;
  hspi1.Init.CLKPolarity = SPI_POLARITY_LOW;
  hspi1.Init.CLKPhase = SPI_PHASE_1EDGE;
  hspi1.Init.NSS = SPI_NSS_SOFT;
  hspi1.Init.BaudRatePrescaler = SPI_BAUDRATEPRESCALER_2;
  hspi1.Init.FirstBit = SPI_FIRSTBIT_MSB;
  hspi1.Init.TIMode = SPI_TIMODE_DISABLE;
  hspi1.Init.CRCCalculation = SPI_CRCCALCULATION_DISABLE;
  hspi1.Init.CRCPolynomial = 7;
  if (HAL_SPI_Init(&hspi1) != HAL_OK)
  {
    Error_Handler();
  }

}

static void MX_TIM6_Init(void)
{

  TIM_MasterConfigTypeDef sMasterConfig = {0};

  htim6.Instance = TIM6;
  htim6.Init.Prescaler = 0;
  htim6.Init.CounterMode = TIM_COUNTERMODE_UP;
  htim6.Init.Period = 24000;
  htim6.Init.AutoReloadPreload = TIM_AUTORELOAD_PRELOAD_DISABLE;
  if (HAL_TIM_Base_Init(&htim6) != HAL_OK)
  {
    Error_Handler();
  }
  sMasterConfig.MasterOutputTrigger = TIM_TRGO_UPDATE;
  sMasterConfig.MasterSlaveMode = TIM_MASTERSLAVEMODE_DISABLE;
  if (HAL_TIMEx_MasterConfigSynchronization(&htim6, &sMasterConfig) != HAL_OK)
  {
    Error_Handler();
  }

}

static void MX_TIM21_Init(void)
{

  TIM_ClockConfigTypeDef sClockSourceConfig = {0};
  TIM_MasterConfigTypeDef sMasterConfig = {0};

  htim21.Instance = TIM21;
  htim21.Init.Prescaler = 24-1;
  htim21.Init.CounterMode = TIM_COUNTERMODE_UP;
  htim21.Init.Period = 65535;
  htim21.Init.ClockDivision = TIM_CLOCKDIVISION_DIV1;
  htim21.Init.AutoReloadPreload = TIM_AUTORELOAD_PRELOAD_DISABLE;
  if (HAL_TIM_Base_Init(&htim21) != HAL_OK)
  {
    Error_Handler();
  }
  sClockSourceConfig.ClockSource = TIM_CLOCKSOURCE_INTERNAL;
  if (HAL_TIM_ConfigClockSource(&htim21, &sClockSourceConfig) != HAL_OK)
  {
    Error_Handler();
  }
  sMasterConfig.MasterOutputTrigger = TIM_TRGO_RESET;
  sMasterConfig.MasterSlaveMode = TIM_MASTERSLAVEMODE_DISABLE;
  if (HAL_TIMEx_MasterConfigSynchronization(&htim21, &sMasterConfig) != HAL_OK)
  {
    Error_Handler();
  }

}

static void MX_USART2_UART_Init(void)
{

  huart2.Instance = USART2;
  huart2.Init.BaudRate = 115200;
  huart2.Init.WordLength = UART_WORDLENGTH_8B;
  huart2.Init.StopBits = UART_STOPBITS_1;
  huart2.Init.Parity = UART_PARITY_NONE;
  huart2.Init.Mode = UART_MODE_TX_RX;
  huart2.Init.HwFlowCtl = UART_HWCONTROL_NONE;
  huart2.Init.OverSampling = UART_OVERSAMPLING_16;
  huart2.Init.OneBitSampling = UART_ONE_BIT_SAMPLE_DISABLE;
  huart2.AdvancedInit.AdvFeatureInit = UART_ADVFEATURE_NO_INIT;
  if (HAL_UART_Init(&huart2) != HAL_OK)
  {
    Error_Handler();
  }

}

static void MX_USART4_UART_Init(void)
{

  huart4.Instance = USART4;
  huart4.Init.BaudRate = 9600;
  huart4.Init.WordLength = UART_WORDLENGTH_8B;
  huart4.Init.StopBits = UART_STOPBITS_1;
  huart4.Init.Parity = UART_PARITY_NONE;
  huart4.Init.Mode = UART_MODE_TX_RX;
  huart4.Init.HwFlowCtl = UART_HWCONTROL_NONE;
  huart4.Init.OverSampling = UART_OVERSAMPLING_16;
  huart4.Init.OneBitSampling = UART_ONE_BIT_SAMPLE_DISABLE;
  huart4.AdvancedInit.AdvFeatureInit = UART_ADVFEATURE_NO_INIT;
  if (HAL_UART_Init(&huart4) != HAL_OK)
  {
    Error_Handler();
  }

}

static void MX_DMA_Init(void)
{

  /* DMA controller clock enable */
  __HAL_RCC_DMA1_CLK_ENABLE();

  /* DMA interrupt init */
  /* DMA1_Channel2_3_IRQn interrupt configuration */
  HAL_NVIC_SetPriority(DMA1_Channel2_3_IRQn, 0, 0);
  HAL_NVIC_EnableIRQ(DMA1_Channel2_3_IRQn);
  /* DMA1_Channel4_5_6_7_IRQn interrupt configuration */
  HAL_NVIC_SetPriority(DMA1_Channel4_5_6_7_IRQn, 0, 0);
  HAL_NVIC_EnableIRQ(DMA1_Channel4_5_6_7_IRQn);

}

static void MX_GPIO_Init(void)
{
  GPIO_InitTypeDef GPIO_InitStruct = {0};

  /* GPIO Ports Clock Enable */
  __HAL_RCC_GPIOC_CLK_ENABLE();
  __HAL_RCC_GPIOH_CLK_ENABLE();
  __HAL_RCC_GPIOA_CLK_ENABLE();
  __HAL_RCC_GPIOB_CLK_ENABLE();

  /*Configure GPIO pin Output Level */
  HAL_GPIO_WritePin(GPIOB, TEMPSIG_Pin|TEMPPWRT_Pin|TEMPMOISTSENON_Pin, GPIO_PIN_RESET);

  /*Configure GPIO pin Output Level */
  HAL_GPIO_WritePin(LORA_CS_GPIO_Port, LORA_CS_Pin, GPIO_PIN_SET);

  /*Configure GPIO pin : B1_Pin */
  GPIO_InitStruct.Pin = B1_Pin;
  GPIO_InitStruct.Mode = GPIO_MODE_IT_FALLING;
  GPIO_InitStruct.Pull = GPIO_NOPULL;
  HAL_GPIO_Init(B1_GPIO_Port, &GPIO_InitStruct);

  /*Configure GPIO pin : TEMPSIG_Pin */
  GPIO_InitStruct.Pin = TEMPSIG_Pin;
  GPIO_InitStruct.Mode = GPIO_MODE_OUTPUT_OD;
  GPIO_InitStruct.Pull = GPIO_PULLUP;
  GPIO_InitStruct.Speed = GPIO_SPEED_FREQ_LOW;
  HAL_GPIO_Init(TEMPSIG_GPIO_Port, &GPIO_InitStruct);

  /*Configure GPIO pins : TEMPPWRT_Pin TEMPMOISTSENON_Pin LORA_CS_Pin */
  GPIO_InitStruct.Pin = TEMPPWRT_Pin|TEMPMOISTSENON_Pin|LORA_CS_Pin;
  GPIO_InitStruct.Mode = GPIO_MODE_OUTPUT_PP;
  GPIO_InitStruct.Pull = GPIO_NOPULL;
  GPIO_InitStruct.Speed = GPIO_SPEED_FREQ_LOW;
  HAL_GPIO_Init(GPIOB, &GPIO_InitStruct);

  /*Configure GPIO pin : PA10 */
  GPIO_InitStruct.Pin = GPIO_PIN_10;
  GPIO_InitStruct.Mode = GPIO_MODE_IT_RISING;
  GPIO_InitStruct.Pull = GPIO_NOPULL;
  HAL_GPIO_Init(GPIOA, &GPIO_InitStruct);

  /* EXTI interrupt init*/
  HAL_NVIC_SetPriority(EXTI4_15_IRQn, 0, 0);
  HAL_NVIC_EnableIRQ(EXTI4_15_IRQn);

}

void Error_Handler(void)
{
  __disable_irq();
  while (1)
  {
  }
}
